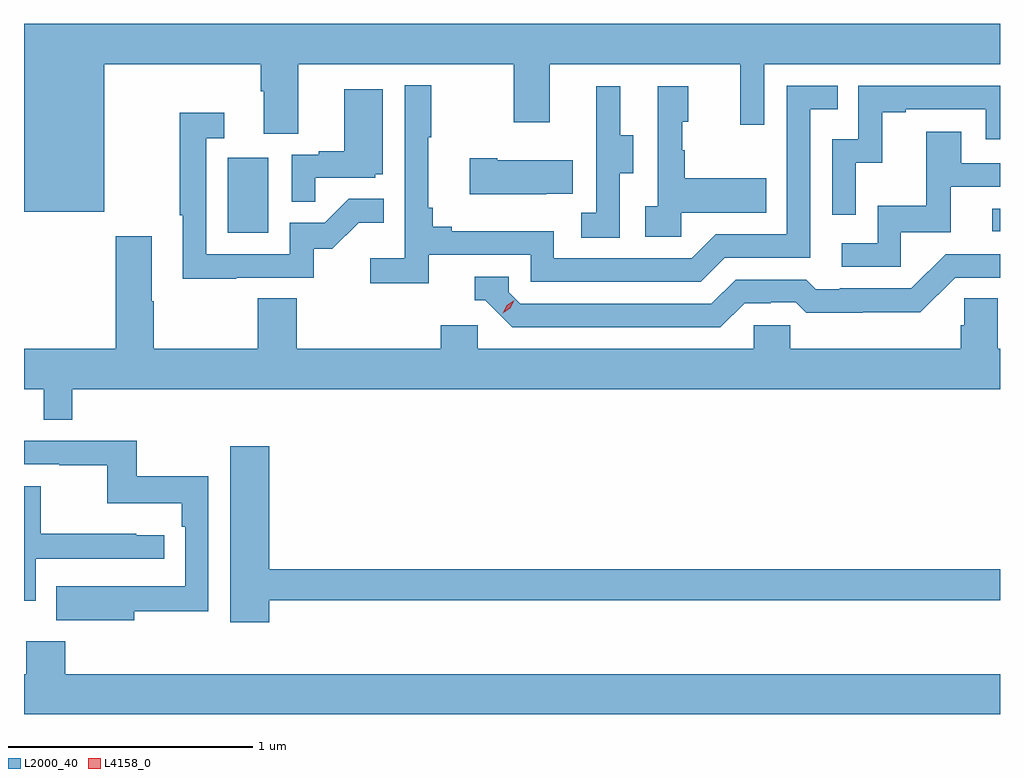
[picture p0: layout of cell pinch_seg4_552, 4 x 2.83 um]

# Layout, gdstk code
import gdstk
lib = gdstk.Library(unit=1e-6, precision=1e-09)
def R(c, l, rs):  # rectangles x0, y0, x1, y1
    for r in rs: c.add(gdstk.rectangle(r[:2], r[2:], *l))
def P(c, l, *ps):  # polygons
    for p in ps: c.add(gdstk.Polygon(p, *l))
L2000_40 = (2000, 40)
L4158_0 = (4158, 0)

pinch_seg4_552 = lib.new_cell('pinch_seg4_552')
R(pinch_seg4_552, L2000_40, [(1108.154,789.468,1108.318,789.775), (1111.287,789.474,1111.318,789.567)])
P(pinch_seg4_552, L2000_40, [(1107.646,790.16),(1108.289,790.16),(1108.289,790.048),(1108.301,790.048),(1108.301,789.874),(1108.441,789.874),(1108.441,790.16),(1109.326,790.16),(1109.326,789.921),(1109.473,789.921),(1109.473,790.16),(1110.254,790.16),(1110.254,789.912),(1110.351,789.912),(1110.351,790.16),(1111.318,790.16),(1111.318,790.324),(1107.318,790.324),(1107.318,789.554),(1107.646,789.554)],
  [(1108.976,789.378),(1109.394,789.378),(1109.394,789.267),(1110.091,789.267),(1110.19,789.366),(1110.54,789.366),(1110.54,789.975),(1110.653,789.975),(1110.653,790.071),(1110.444,790.071),(1110.444,789.462),(1110.153,789.462),(1110.054,789.363),(1109.49,789.363),(1109.49,789.475),(1109.071,789.475),(1109.071,789.494),(1108.994,789.494),(1108.994,789.571),(1108.975,789.571),(1108.975,789.859),(1108.987,789.859),(1108.987,790.072),(1108.878,790.072),(1108.878,789.364),(1108.737,789.364),(1108.737,789.262),(1108.976,789.262)],
  [(1110.726,789.755),(1110.836,789.755),(1110.836,789.963),(1110.931,789.963),(1110.931,789.975),(1111.26,789.975),(1111.26,789.852),(1111.318,789.852),(1111.318,790.071),(1110.738,790.071),(1110.738,789.852),(1110.63,789.852),(1110.63,789.543),(1110.726,789.543)],
  [(1110.012,789.551),(1110.359,789.551),(1110.359,789.691),(1110.025,789.691),(1110.025,789.806),(1110.015,789.806),(1110.015,789.924),(1110.04,789.924),(1110.04,790.069),(1109.916,790.069),(1109.916,789.578),(1109.865,789.578),(1109.865,789.453),(1110.012,789.453)],
  [(1109.76,789.712),(1109.815,789.712),(1109.815,789.867),(1109.761,789.867),(1109.761,790.069),(1109.663,790.069),(1109.663,789.855),(1109.664,789.855),(1109.664,789.551),(1109.601,789.551),(1109.601,789.448),(1109.76,789.448)],
  [(1108.511,789.693),(1108.758,789.693),(1108.758,789.708),(1108.789,789.708),(1108.789,790.057),(1108.631,790.057),(1108.631,789.802),(1108.527,789.802),(1108.527,789.789),(1108.416,789.789),(1108.416,789.595),(1108.511,789.595)],
  [(1108.187,789.285),(1108.506,789.285),(1108.506,789.402),(1108.582,789.402),(1108.689,789.509),(1108.793,789.509),(1108.793,789.608),(1108.649,789.608),(1108.551,789.51),(1108.407,789.51),(1108.407,789.381),(1108.065,789.381),(1108.065,789.855),(1108.138,789.855),(1108.138,789.961),(1107.957,789.961),(1107.957,789.541),(1107.969,789.541),(1107.969,789.28),(1108.187,789.28)],
  [(1110.912,789.471),(1111.117,789.471),(1111.117,789.657),(1111.318,789.657),(1111.318,789.753),(1111.159,789.753),(1111.159,789.883),(1111.015,789.883),(1111.015,789.58),(1110.816,789.58),(1110.816,789.426),(1110.669,789.426),(1110.669,789.33),(1110.912,789.33)],
  [(1109.459,789.629),(1109.567,789.629),(1109.567,789.766),(1109.257,789.766),(1109.257,789.774),(1109.145,789.774),(1109.145,789.626),(1109.459,789.626)],
  [(1111.318,788.992),(1111.308,788.992),(1111.308,789.2),(1111.171,789.2),(1111.171,789.09),(1111.157,789.09),(1111.157,788.992),(1110.459,788.992),(1110.459,789.09),(1110.309,789.09),(1110.309,788.992),(1109.178,788.992),(1109.178,789.09),(1109.027,789.09),(1109.027,788.992),(1108.436,788.992),(1108.436,789.2),(1108.276,789.2),(1108.276,788.992),(1107.849,788.992),(1107.849,789.188),(1107.841,789.188),(1107.841,789.454),(1107.694,789.454),(1107.694,788.992),(1107.318,788.992),(1107.318,788.828),(1107.399,788.828),(1107.399,788.701),(1107.515,788.701),(1107.515,788.828),(1111.318,788.828)],
  [(1110.271,789.18),(1110.378,789.18),(1110.378,789.183),(1110.481,789.183),(1110.523,789.141),(1110.756,789.141),(1110.756,789.143),(1110.992,789.143),(1111.134,789.285),(1111.318,789.285),(1111.318,789.381),(1111.095,789.381),(1110.954,789.24),(1110.661,789.24),(1110.661,789.237),(1110.562,789.237),(1110.523,789.276),(1110.234,789.276),(1110.135,789.177),(1109.352,789.177),(1109.304,789.225),(1109.304,789.288),(1109.165,789.288),(1109.165,789.192),(1109.208,789.192),(1109.319,789.081),(1110.172,789.081)],
  [(1107.769,787.918),(1108.074,787.918),(1108.074,788.47),(1107.781,788.47),(1107.781,788.616),(1107.318,788.616),(1107.318,788.52),(1107.463,788.52),(1107.463,788.515),(1107.66,788.515),(1107.66,788.36),(1107.965,788.36),(1107.965,788.264),(1107.978,788.264),(1107.978,788.019),(1107.665,788.019),(1107.665,788.02),(1107.451,788.02),(1107.451,787.88),(1107.769,787.88)],
  [(1108.324,787.962),(1111.318,787.962),(1111.318,788.09),(1108.324,788.09),(1108.324,788.593),(1108.163,788.593),(1108.163,787.872),(1108.324,787.872)],
  [(1107.366,788.133),(1107.892,788.133),(1107.892,788.229),(1107.779,788.229),(1107.779,788.234),(1107.386,788.234),(1107.386,788.43),(1107.318,788.43),(1107.318,787.961),(1107.366,787.961)],
  [(1111.318,787.66),(1107.488,787.66),(1107.488,787.795),(1107.328,787.795),(1107.328,787.66),(1107.318,787.66),(1107.318,787.496),(1111.318,787.496)])
P(pinch_seg4_552, L4158_0, [(1109.28,789.139),(1109.28,789.139),(1109.296,789.172),(1109.327,789.191),(1109.328,789.191),(1109.328,789.191),(1109.311,789.158),(1109.28,789.139)])

lib.write_gds('pinch_seg4_552.gds')
